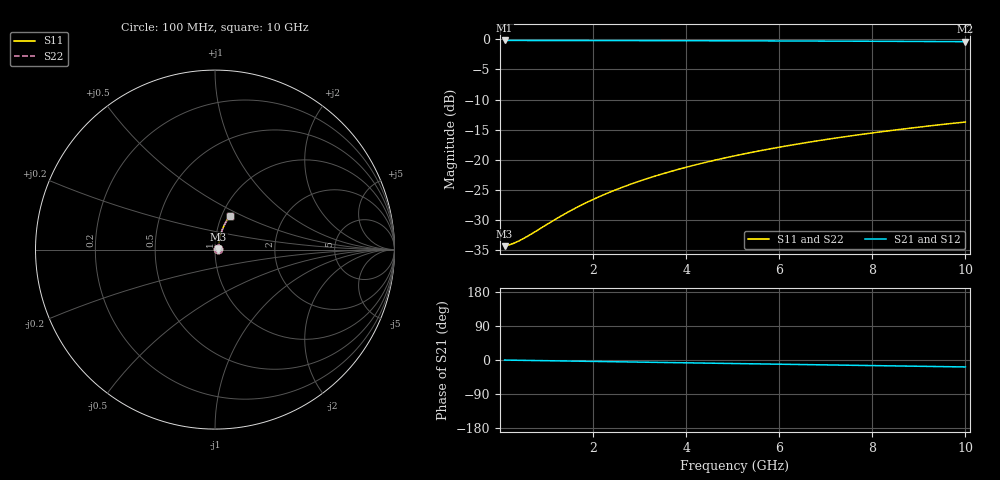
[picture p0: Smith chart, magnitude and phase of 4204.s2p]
# Hz S RI R 50.00
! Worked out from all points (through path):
!   100 points, 100 MHz to 10 GHz, reference 50 ohm
!   highest |S21| = -0.17 dB at 100 MHz (marker M1); lowest = -0.4 dB at 10 GHz (marker M2)
!   group delay of S21, straight-line fit = 5.1 ps
!   lowest |S11| = -34.4 dB at 100 MHz (marker M3), VSWR 1.04, Z = 51.9 + j0.213 ohm
!   |S11| at or under -10 dB: start of sweep to end of sweep
!   |S22| runs from -34.4 to -13.7 dB; largest |S21 - S12| = 0
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1e8  0.0189 0.00205  0.9811 -0.00319  0.9811 -0.00319  0.0189 0.00205
2e8  0.0191 0.0041  0.9809 -0.00637  0.9809 -0.00637  0.0191 0.0041
3e8  0.0192 0.00615  0.9808 -0.00955  0.9808 -0.00955  0.0192 0.00615
5e8  0.0194 0.0102  0.9806 -0.0159  0.9806 -0.0159  0.0194 0.0102
7e8  0.0197 0.0143  0.9803 -0.0223  0.9803 -0.0223  0.0197 0.0143
1.3e9  0.0207 0.0266  0.9792 -0.0413  0.9792 -0.0413  0.0207 0.0266
1.6e9  0.0214 0.0327  0.9784 -0.0508  0.9784 -0.0508  0.0214 0.0327
1.8e9  0.0219 0.0368  0.9779 -0.0572  0.9779 -0.0572  0.0219 0.0368
2.1e9  0.0227 0.0428  0.977 -0.0666  0.977 -0.0666  0.0227 0.0428
2.5e9  0.024 0.0509  0.9755 -0.0792  0.9755 -0.0792  0.024 0.0509
2.9e9  0.0255 0.0589  0.9739 -0.0918  0.9739 -0.0918  0.0255 0.0589
3.4e9  0.0277 0.0689  0.9715 -0.1074  0.9715 -0.1074  0.0277 0.0689
3.8e9  0.0296 0.0768  0.9694 -0.1199  0.9694 -0.1199  0.0296 0.0768
4.2e9  0.0318 0.0846  0.967 -0.1323  0.967 -0.1323  0.0318 0.0846
4.6e9  0.0341 0.0924  0.9645 -0.1446  0.9645 -0.1446  0.0341 0.0924
5.1e9  0.0373 0.102  0.9609 -0.1599  0.9609 -0.1599  0.0373 0.102
5.9e9  0.0431 0.1171  0.9546 -0.1841  0.9546 -0.1841  0.0431 0.1171
6.7e9  0.0495 0.1318  0.9475 -0.2079  0.9475 -0.2079  0.0495 0.1318
7.5e9  0.0567 0.1462  0.9395 -0.2313  0.9395 -0.2313  0.0567 0.1462
8.4e9  0.0656 0.1617  0.9297 -0.2572  0.9297 -0.2572  0.0656 0.1617
9.2e9  0.0742 0.175  0.9202 -0.2796  0.9202 -0.2796  0.0742 0.175
1e10  0.0834 0.1878  0.9099 -0.3015  0.9099 -0.3015  0.0834 0.1878
